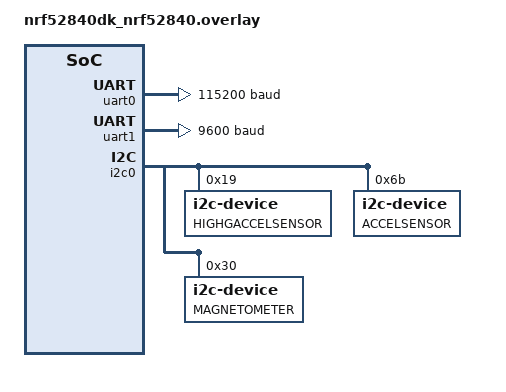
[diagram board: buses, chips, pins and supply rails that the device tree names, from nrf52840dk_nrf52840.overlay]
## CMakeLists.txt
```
cmake_minimum_required(VERSION 3.20.0)
find_package(Zephyr REQUIRED HINTS $ENV{ZEPHYR_BASE})

project(nrf52840)

target_sources(app PRIVATE src/main.c)
target_sources(app PRIVATE src/helpers.c)
target_sources(app PRIVATE src/gps.c)
target_sources(app PRIVATE src/imu.c)
target_sources(app PRIVATE src/highGAccel.c)
```

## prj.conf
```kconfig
CONFIG_GPIO=y
# STEP 2 - Enable the serial driver in asynchronous mode
CONFIG_SERIAL=y
CONFIG_UART_ASYNC_API=y
CONFIG_LOG=y
CONFIG_I2C=y
CONFIG_I2C_NRFX=y
CONFIG_CBPRINTF_FP_SUPPORT=y # Floating point support

CONFIG_BT=y
CONFIG_BT_DEVICE_NAME="HOOF-IMU"
CONFIG_BT_PERIPHERAL=y
```

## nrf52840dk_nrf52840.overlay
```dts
// To get started, press Ctrl+Space to bring up the completion menu and view the available nodes.

// You can also use the buttons in the sidebar to perform actions on nodes.
// Actions currently available include:

// * Enabling / disabling the node
// * Adding the bus to a bus
// * Removing the node
// * Connecting ADC channels

// For more help, browse the DeviceTree documentation at https://docs.zephyrproject.org/latest/guides/dts/index.html
// You can also visit the nRF DeviceTree extension documentation at https://docs.nordicsemi.com/bundle/nrf-connect-vscode/page/guides/ncs_configure_app.html#devicetree-support-in-the-extension
&uart0 {
    current-speed = <115200>;
    data-bits = <8>;
    hw-flow-control;
    stop-bits = "1";
    parity = "none";
};


&uart1 {
    status = "okay";
        data-bits = <8>;
    current-speed = <9600>;
    stop-bits = "1";
    parity = "none";
};

&i2c0{
    highgaccelsensor:highgaccelsensor@19{
        compatible = "i2c-device"; // telling nordic to use raw i2c driver
        status="okay";
        reg = <0x19>;              // address of the accelerameter
        label = "HIGHGACCELSENSOR";   // label
    };    
    accelsensor:accelsensor@6B{
        compatible = "i2c-device"; // telling nordic to use raw i2c driver
        status = "okay";
        reg = <0x6B>;              // address of the accelerameter
        label = "ACCELSENSOR";   // label
    };
    magnetometer:magnetometer@30{
        compatible="i2c-device";
        status="okay";
        reg = <0x30>;
        label="MAGNETOMETER";
    };

};
```

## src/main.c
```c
#include "main.h"

gpgps gps;

static const struct i2c_dt_spec magnetometer = I2C_DT_SPEC_GET(I2C0_NODE);

int initMag()
{
        if (!device_is_ready(magnetometer.bus))
        {
                printk("I2C bus %s is not ready!\n\r", magnetometer.bus->name);
                return -1;
        }
        int ret;
        // Read from WHOAMI
        uint8_t data = 0;
        uint8_t reg = WHOAMI;
        ret = i2c_write_read_dt(&magnetometer, &reg, 1, &data, 1);
        if (ret != 0)
        {
                printk("Failed to write/read I2C device address %x at Reg. %x \r\n", magnetometer.addr, WHOAMI);
                return -1;
        }
        else if (data != 0x30)
        {
                printk("Magnetometer not found\n");
                return -1;
        }
        return 1;
}
int readMag(mag *mag)
{
        // Read X Y and Z values
        int ret;
        uint8_t xValues[3];
        uint8_t xRegs[3] = {MMC5983MA_XOUT0, MMC5983MA_XOUT1, MMC5983MA_XYZOUT2};
        ret = i2c_write_read_dt(&magnetometer, &xRegs[0], 1, &xValues[0], 1);
        if (ret != 0)
        {
                printk("Failed to write/read I2C device address %x at Reg. %x \r\n", magnetometer.addr, WHOAMI);
                return -1;
        }
        ret = i2c_write_read_dt(&magnetometer, &xRegs[1], 1, &xValues[1], 1);
        if (ret != 0)
        {
                printk("Failed to write/read I2C device address %x at Reg. %x \r\n", magnetometer.addr, WHOAMI);
                return -1;
        }
        ret = i2c_write_read_dt(&magnetometer, &xRegs[2], 1, &xValues[2], 1);
        if (ret != 0)
        {
                printk("Failed to write/read I2C device address %x at Reg. %x \r\n", magnetometer.addr, WHOAMI);
                return -1;
        }
        uint8_t yValues[2];
        uint8_t yRegs[2] = {MMC5983MA_YOUT0, MMC5983MA_YOUT1};
        ret = i2c_write_read_dt(&magnetometer, &yRegs[0], 1, &yValues[0], 1);
        if (ret != 0)
        {
                printk("Failed to write/read I2C device address %x at Reg. %x \r\n", magnetometer.addr, WHOAMI);
                return -1;
        }
        ret = i2c_write_read_dt(&magnetometer, &yRegs[1], 1, &yValues[1], 1);
        if (ret != 0)
        {
                printk("Failed to write/read I2C device address %x at Reg. %x \r\n", magnetometer.addr, WHOAMI);
                return -1;
        }
        uint8_t zValues[2];
        uint8_t zRegs[2] = {MMC5983MA_ZOUT0, MMC5983MA_ZOUT1};
        ret = i2c_write_read_dt(&magnetometer, &zRegs[0], 1, &zValues[0], 1);
        if (ret != 0)
        {
                printk("Failed to write/read I2C device address %x at Reg. %x \r\n", magnetometer.addr, WHOAMI);
                return -1;
        }
        ret = i2c_write_read_dt(&magnetometer, &zRegs[1], 1, &zValues[1], 1);
        if (ret != 0)
        {
                printk("Failed to write/read I2C device address %x at Reg. %x \r\n", magnetometer.addr, WHOAMI);
                return -1;
        }
        mag->x = ((xValues[0] << 10) | (xValues[1] << 2) | ((xValues[2] >> 6) & 0x03));
        mag->y = ((yValues[0] << 10) | (yValues[1] << 2) | ((xValues[2] >> 4) & 0x03));
        mag->z = ((zValues[0] << 10) | (zValues[1] << 2) | ((xValues[2] >> 2) & 0x03));
        return 1;
}

int printMag(mag *mag)
{
        printk("X: %ld\t", mag->x);
        printk("Y: %ld\t", mag->y);
        printk("Z: %ld\n", mag->z);
        return 1;
}

float compute_heading(int32_t raw_x, int32_t raw_y)
{
        // Convert raw data to µT
        float Bx = raw_x * SENSITIVITY;
        float By = raw_y * SENSITIVITY;

        // Compute heading using atan2 (radians to degrees)
        float heading = atan2(By, Bx) * (180.0 / PI);

        // Ensure heading is in the range [0, 360)
        if (heading < 0)
        {
                heading += 360.0;
        }

        return heading;
}

int main(void)
{
        printk("\nStarting application!\r\n");
        int ret = init_gps(&gps);
        if (ret == -1)
                return 1;

        ret = initIMU();
        if (ret == -1)
                return 1;
        ret = initHighAccel();
        if (ret == -1)
                return 1;
        ret = initMag();
        if (ret == -1)
                return 1;
        accel highGAccel;
        accel accel;
        gyro gyro;
        mag mag;

        while (1)
        {
                k_msleep(SLEEP_TIME);
                // printk("Working\n");
                readAccel(&accel);
                readGyro(&gyro);
                // printIMU(gyro, accel, getTemp());
                if (readMag(&mag) == -1)
                        return -1;

                if (printMag(&mag) == -1)
                        return -1;
                int32_t heading = compute_heading(mag.x, mag.y);
                printf("Heading: %d degrees\n", heading);
                // readHighAccel(&highGAccel);
                // printk("%d\t", highGAccel.x);
                // printk("%d\t", highGAccel.y);
                // printk("%d\t", highGAccel.z);
                // printGGA(gps.gpgga);
                // printk("\n");
        }

        return 0;
}
```

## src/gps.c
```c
#include "gps.h"

static uint8_t gps_rx_next_buf[GPS_RECEIVE_BUFF_SIZE] = {0};
static uint8_t gps_rx_buf[GPS_RECEIVE_BUFF_SIZE] = {0};

const struct device *gpsUart = DEVICE_DT_GET(DT_NODELABEL(uart1));

void parse_nmea(const char *nmea_sentence, gpgps *gps)
{
    char *saveptr;
    char *line = strtok_r(nmea_sentence, "\n", &saveptr);
    char *id;
    while ((line = strtok_r(NULL, "\n", &saveptr)))
    {
        char *saveIDPointer;
        id = strtok_r(line, ",", &saveIDPointer);
        if (strcmp(id, "$GPGGA") == 0)
        {
            int i = 0;
            while ((id = strtok_r(NULL, ",", &saveIDPointer)))
            {
                switch (i)
                {
                case 0:
                    if (strlen(id) == 10)
                    {
                        strncpy(gps->gpgga.utcTime, id, 10);
                        gps->gpgga.utcTime[10] = '\0';
                    }

                    break;
                case 1:
                    if (strlen(id) == 9)
                    {
                        strncpy(gps->gpgga.latitude, id, 9);
                        gps->gpgga.latitude[9] = '\0';
                    }
                    break;
                case 2:
                    if (strlen(id) == 1)
                    {
                        gps->gpgga.nsIndicator = id[0];
                    }

                    break;
                case 3:
                    if (strlen(id) == 10)
                    {
                        strncpy(gps->gpgga.longitude, id, 10);
                        gps->gpgga.longitude[10] = '\0';
                    }
                    break;
                case 4:
                    if (strlen(id) == 1)
                    {
                        gps->gpgga.ewIndicator = id[0];
                    }
                    break;
                case 5:
                    if (strlen(id) == 1)
                    {
                        gps->gpgga.positionIndicator = id[0];
                    }
                    break;
                case 6:
                    if (strlen(id) == 2)
                    {
                        strncpy(gps->gpgga.numOfSatellites, id, 2);
                        gps->gpgga.numOfSatellites[2] = '\0';
                    }
                    break;
                case 7:
                    if (strlen(id) == 4)
                    {
                        strncpy(gps->gpgga.hdop, id, 4);
                        gps->gpgga.hdop[4] = '\0';
                    }
                    break;
                case 8:
                    if (strlen(id) == 4)
                    {
                        strncpy(gps->gpgga.mslAltitude, id, 4);
                        gps->gpgga.mslAltitude[4] = '\0';
                    }
                    break;
                case 9:
                    if (strlen(id) == 1)
                    {
                        gps->gpgga.altitudeUnits = id[0];
                    }
                    break;
                case 10:
                    if (strlen(id) == 5)
                    {
                        strncpy(gps->gpgga.geoidalSeparation, id, 5);
                        gps->gpgga.geoidalSeparation[5] = '\0';
                    }
                    break;
                case 11:
                    if (strlen(id) == 1)
                    {
                        gps->gpgga.geoidalUnits = id[0];
                    }
                    break;

                default:
                    break;
                }
                i++;
            }
        }
    }
}

static void gps_uart_cb(const struct device *dev, struct uart_event *evt, void *user_data)
{
    static size_t current_bytes = 0;
    switch (evt->type)
    {

    case UART_RX_RDY:
        if (evt->data.rx.len > GPS_RECEIVE_BUFF_SIZE)
        {

            printk("Buffer overflow");
            current_bytes = 0; // Reset buffer
            break;
        }

        parse_nmea(evt->data.rx.buf + evt->data.rx.offset, user_data);
        break;

    case UART_RX_BUF_REQUEST:
        uart_rx_buf_rsp(dev, gps_rx_next_buf, sizeof(gps_rx_next_buf) - 1);
        break;
    case UART_RX_DISABLED:
        uart_rx_enable(dev, gps_rx_buf, sizeof gps_rx_buf, RECEIVE_TIMEOUT);
        break;

    default:
        break;
    }
}

int init_gps(gpgps *gps)
{
    if (!device_is_ready(gpsUart))
    {
        printk("GPS is not ready!\r\n");
        return -1;
    }

    int ret = uart_callback_set(gpsUart, gps_uart_cb, gps);
    if (ret)
    {
        printk("gps UART not set up right \r\n");
        return -1;
    }

    ret = uart_rx_enable(gpsUart, gps_rx_buf, sizeof gps_rx_buf, RECEIVE_TIMEOUT);
    if (ret)
    {
        printk("Could not enable gps rx\r\n");
        return -1;
    }
    return 1;
}
```

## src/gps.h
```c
#ifndef GPS_H
#define GPS_H

// #include "main.h"
#include <zephyr/device.h>
#include <zephyr/drivers/uart.h>
#include <stdlib.h>
#include <zephyr/sys/printk.h>
#include <stdint.h>
#include <stdbool.h>
#include <string.h>

#define RECEIVE_TIMEOUT 100
#define GPS_RECEIVE_BUFF_SIZE 1028

typedef struct gga
{
    char utcTime[11];        // hhmmss.sss
    char latitude[10];       // ddmm.mmmm
    char nsIndicator;        // N/S
    char longitude[11];      // dddmm.mmmm
    char ewIndicator;        // E/W
    char positionIndicator;  // 0: no fix, 1:GPS fix, 2: Differential GPS fix
    char numOfSatellites[3]; // 0-14
    char hdop[5];
    char mslAltitude[5];
    char altitudeUnits;
    char geoidalSeparation[6];
    char geoidalUnits;
} gga;

typedef struct rmc
{
    char *utcTime;
    char status;
    char *latitude;
    char nsIndicator;
    char *longitude;
    char ewIndicator;
    char *speedOverGround;
    char *courseOverGround;
    char *date;
} rmc;

typedef struct gpgps
{
    gga gpgga;
    rmc gprmc;
} gpgps;

int init_gps(gpgps *gps);

#endif
```

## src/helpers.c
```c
#include "helpers.h"
#include "math.h"
void printGGA(gga gpsData)
{
    // printk("UTC Time: %s\n", gpsData.utcTime);
    // printk("Latitude: %s\n", gpsData.latitude);
    // printk("%s\t", gpsData.latitude);

    // printk("N/S Indicator: %c\n", gpsData.nsIndicator);
    // printk("Longitude: %s\n", gpsData.longitude);
    // printk("%s\t", gpsData.longitude);

    // printk("E/W Indicator: %c\n", gpsData.ewIndicator);
    // printk("Position Indicator: %c\n", gpsData.positionIndicator);
    // printk("Number of Satellites: %s\n", gpsData.numOfSatellites);
    // printk("HDOP: %s\n", gpsData.hdop);
    // printk("MSL Altitude: %s %c\n", gpsData.mslAltitude, gpsData.altitudeUnits);
    // printk("Geoidal Separation: %s %c\n", gpsData.geoidalSeparation, gpsData.geoidalUnits);
}
void printIMU(gyro gyro, accel accel, int16_t temp)
{
    // printk("Temperature in Fahrenheit : %d F \n", temp);
    // printk("Gyro X is : %d  \n", gyro.x);
    // printk("Gyro Y is : %d  \n", gyro.y);
    // printk("Gyro Z is : %d  \n", gyro.z);
    // printk("\nAccel X is : %d  \t", accel.x);
    // printk("Accel Y is : %d  \t", accel.y);
    // printk("Accel Z is : %d  \t", accel.z);

    // printk("%d\t", temp);
    // printk("%d\t", gyro.x);
    // printk("%d\t", gyro.y);
    // printk("%d\t", gyro.z);
    // printk("%d\t", accel.x);
    // printk("%d\t", accel.y);
    // printk("%d\t", accel.z);
    printAccelDegrees(accel);
}
#define PI 3.14159265358979323846
void printAccelDegrees(accel accel)
{
    // Convert mg to g
    float a_x = accel.x / 1.0;
    float a_y = accel.y / 1.0;
    float a_z = accel.z / 1.0;

    // Calculate pitch (tilt with respect to the X-axis)
    float pitch_radians = atan2((-a_x), sqrt((a_y * a_y) + (a_z * a_z)));

    // Convert radians to degrees
    float pitch_degrees = pitch_radians * (180.0 / PI);
    float roll = atan2(a_y, a_z) * 57.3;
    printk("\nPitch is : %.2f  \t", pitch_degrees * 2);
    printk("Roll is : %.2f ", roll * 2);
}
```

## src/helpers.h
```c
#ifndef HELPERS_H
#define HELPERS_H

#include "gps.h"
#include <zephyr/sys/printk.h>
#include "imu.h"
// #include "main.h"

void printGGA(gga gpsData);
void printIMU(gyro gyro, accel accel, int16_t temp);

#endif
```

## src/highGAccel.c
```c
#include "highGAccel.h"

static const struct i2c_dt_spec highAccelI2C = I2C_DT_SPEC_GET(I2C1_NODE);

int initHighAccel()
{
    int ret;
    if (!device_is_ready(highAccelI2C.bus))
    {
        printk("High G i2c bus %s is not ready!\n\r", highAccelI2C.bus->name);
        return -1;
    }
    // Read from WHOAMI
    uint8_t data = 0;
    uint8_t reg = HighGWHO_AM_I;
    ret = i2c_write_read_dt(&highAccelI2C, &reg, 1, &data, 1);
    if (ret != 0)
    {
        printk("Failed to write/read I2C device address %x at Reg. %x \r\n", highAccelI2C.addr, HighGWHO_AM_I);
        return -1;
    }

    // Setup accel

    // Configure CTRL_REG1: Data rate 50 Hz, normal power mode, enable all axes
    uint8_t config[2] = {HighGCTRL_REG1, 0x27};
    ret = i2c_write_dt(&highAccelI2C, config, sizeof(config));
    if (ret != 0)
    {
        printk("Failed to write to I2C device address %x at Reg. %x \n", highAccelI2C.addr, config[0]);
        return -1;
    }
    // Setup accel
    // Configure CTRL_REG4: medium scale 200g, high-resolution mode
    uint8_t configTwo[2] = {HighGCTRL_REG4, 0x10};
    ret = i2c_write_dt(&highAccelI2C, configTwo, sizeof(configTwo));
    if (ret != 0)
    {
        printk("Failed to write to I2C device address %x at Reg. %x \n", highAccelI2C.addr, configTwo[0]);
        return -1;
    }
    return 1;
}

int readHighAccel(accel *accel)
{
    int ret;
    int8_t accelXLow, accelXHigh;
    uint8_t sensor_regs[2] = {HighGOUT_X_L, HighGOUT_X_H};
    ret = i2c_write_read_dt(&highAccelI2C, &sensor_regs[0], 1, &accelXLow, 1);
    if (ret != 0)
    {
        printk("Failed to write/read I2C device address %x at Reg. %x \r\n", highAccelI2C.addr, WHOAMI);
        return -1;
    }
    ret = i2c_write_read_dt(&highAccelI2C, &sensor_regs[1], 1, &accelXHigh, 1);
    if (ret != 0)
    {
        printk("Failed to write/read I2C device address %x at Reg. %x \r\n", highAccelI2C.addr, WHOAMI);
        return -1;
    }
    accel->x = ((int16_t)(accelXHigh << 8 | accelXLow)) / HIGHACCELSENSITIVITY;

    int8_t accelYLow, accelYHigh;
    uint8_t sensor_regsY[2] = {HighGOUT_Y_L, HighGOUT_Y_H};
    ret = i2c_write_read_dt(&highAccelI2C, &sensor_regsY[0], 1, &accelYLow, 1);
    if (ret != 0)
    {
        printk("Failed to write/read I2C device address %x at Reg. %x \r\n", highAccelI2C.addr, WHOAMI);
        return -1;
    }
    ret = i2c_write_read_dt(&highAccelI2C, &sensor_regsY[1], 1, &accelYHigh, 1);
    if (ret != 0)
    {
        printk("Failed to write/read I2C device address %x at Reg. %x \r\n", highAccelI2C.addr, WHOAMI);
        return -1;
    }
    accel->y = ((int16_t)(accelYHigh << 8 | accelYLow)) / HIGHACCELSENSITIVITY;

    int8_t accelZLow, accelZHigh;
    uint8_t sensor_regsz[2] = {HighGOUT_Z_L, HighGOUT_Z_H};
    ret = i2c_write_read_dt(&highAccelI2C, &sensor_regsz[0], 1, &accelZLow, 1);
    if (ret != 0)
    {
        printk("Failed to write/read I2C device address %x at Reg. %x \r\n", highAccelI2C.addr, WHOAMI);
        return -1;
    }
    ret = i2c_write_read_dt(&highAccelI2C, &sensor_regsz[1], 1, &accelZHigh, 1);
    if (ret != 0)
    {
        printk("Failed to write/read I2C device address %x at Reg. %x \r\n", highAccelI2C.addr, WHOAMI);
        return -1;
    }
    accel->z = ((int16_t)(accelZHigh << 8 | accelZLow)) / HIGHACCELSENSITIVITY;

    // accel->x -= (accel->x % 50);
    // accel->y -= (accel->y % 50);
    // accel->z -= (accel->z % 50);
    return 1;
}
```

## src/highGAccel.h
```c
#ifndef HIGHGACCEL_H
#define HIGHGACCEL_H
#include <zephyr/device.h>
#include <zephyr/drivers/i2c.h>
#include "imu.h"
#define I2C1_NODE DT_NODELABEL(highgaccelsensor)

// High g accel
#define HighGWHO_AM_I 0x0F
#define HighGCTRL_REG1 0x20
#define HighGCTRL_REG4 0x23
#define HighGOUT_X_L 0x28
#define HighGOUT_X_H 0x29
#define HighGOUT_Y_L 0x2A
#define HighGOUT_Y_H 0x2B
#define HighGOUT_Z_L 0x2C
#define HighGOUT_Z_H 0x2D
#define HIGHACCELSENSITIVITY 98

int initHighAccel();
int readHighAccel(accel *accel);

#endif
```

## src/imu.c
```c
#include "imu.h"

static const struct i2c_dt_spec imu = I2C_DT_SPEC_GET(I2C0_NODE);

int initIMU()
{
    if (!device_is_ready(imu.bus))
    {
        printk("I2C bus %s is not ready!\n\r", imu.bus->name);
        return -1;
    }
    int ret;
    // Read from WHOAMI
    uint8_t data = 0;
    uint8_t reg = WHOAMI;
    ret = i2c_write_read_dt(&imu, &reg, 1, &data, 1);
    if (ret != 0)
    {
        printk("Failed to write/read I2C device address %x at Reg. %x \r\n", imu.addr, WHOAMI);
        return -1;
    }
    else if (data != 0x6B)
    {
        printk("IMU not found\n");
        return -1;
    }

    // Setup accel
    uint8_t config[2] = {CTRL1XL, 0x40}; // 0100 0000
    ret = i2c_write_dt(&imu, config, sizeof(config));
    if (ret != 0)
    {
        printk("Failed to write to I2C device address %x at Reg. %x \n", imu.addr, config[0]);
        return -1;
    }

    // Setup gyro
    //  200dps
    uint8_t gconfig[2] = {CTRL2G, 0x60}; // 0110 0000
    ret = i2c_write_dt(&imu, gconfig, sizeof(gconfig));
    if (ret != 0)
    {
        printk("Failed to write to I2C device address %x at Reg. %x \n", imu.addr, gconfig[0]);
        return -1;
    }
    uint8_t testconfig[2] = {CTRL5C, 0x40};
    ret = i2c_write_dt(&imu, testconfig, sizeof(testconfig));
    if (ret != 0)
    {
        printk("Failed to write to I2C device address %x at Reg. %x \n", imu.addr, testconfig[0]);
        return -1;
    }
    return 1;
}

int readAccel(accel *accel)
{
    int ret;
    u_int16_t accelXLow, accelXHigh;
    uint8_t sensor_regs[2] = {OUTXLA, OUTXHA};
    ret = i2c_write_read_dt(&imu, &sensor_regs[0], 1, &accelXLow, 1);
    if (ret != 0)
    {
        printk("Failed to write/read I2C device address %x at Reg. %x \r\n", imu.addr, WHOAMI);
        return -1;
    }
    ret = i2c_write_read_dt(&imu, &sensor_regs[1], 1, &accelXHigh, 1);
    if (ret != 0)
    {
        printk("Failed to write/read I2C device address %x at Reg. %x \r\n", imu.addr, WHOAMI);
        return -1;
    }
    accel->x = (((int16_t)(accelXHigh << 8 | accelXLow)) * 0.061);

    u_int16_t accelYLow, accelYHigh;
    uint8_t sensor_regsY[2] = {OUTYLA, OUTYHA};
    ret = i2c_write_read_dt(&imu, &sensor_regsY[0], 1, &accelYLow, 1);
    if (ret != 0)
    {
        printk("Failed to write/read I2C device address %x at Reg. %x \r\n", imu.addr, WHOAMI);
        return -1;
    }
    ret = i2c_write_read_dt(&imu, &sensor_regsY[1], 1, &accelYHigh, 1);
    if (ret != 0)
    {
        printk("Failed to write/read I2C device address %x at Reg. %x \r\n", imu.addr, WHOAMI);
        return -1;
    }
    accel->y = (((int16_t)(accelYHigh << 8 | accelYLow)) * 0.061);

    u_int16_t accelZLow, accelZHigh;
    uint8_t sensor_regsz[2] = {OUTZLA, OUTZHA};
    ret = i2c_write_read_dt(&imu, &sensor_regsz[0], 1, &accelZLow, 1);
    if (ret != 0)
    {
        printk("Failed to write/read I2C device address %x at Reg. %x \r\n", imu.addr, WHOAMI);
        return -1;
    }
    ret = i2c_write_read_dt(&imu, &sensor_regsz[1], 1, &accelZHigh, 1);
    if (ret != 0)
    {
        printk("Failed to write/read I2C device address %x at Reg. %x \r\n", imu.addr, WHOAMI);
        return -1;
    }
    accel->z = (((int16_t)(accelZHigh << 8 | accelZLow)) * 0.061) - 350;

    accel->x -= (accel->x % 20);
    accel->y -= (accel->y % 20);
    accel->z -= (accel->z % 20);
    return 1;
}

int readGyro(gyro *gyro)
{
    int ret;
    u_int16_t gyroXLow, gyroXHigh;
    uint8_t sensor_regs[2] = {OUTXLG, OUTXHG};
    ret = i2c_write_read_dt(&imu, &sensor_regs[0], 1, &gyroXLow, 1);
    if (ret != 0)
    {
        printk("Failed to write/read I2C device address %x at Reg. %x \r\n", imu.addr, WHOAMI);
        return -1;
    }
    ret = i2c_write_read_dt(&imu, &sensor_regs[1], 1, &gyroXHigh, 1);
    if (ret != 0)
    {
        printk("Failed to write/read I2C device address %x at Reg. %x \r\n", imu.addr, WHOAMI);
        return -1;
    }
    gyro->x = ((int16_t)(gyroXHigh << 8 | gyroXLow)) / GYROSENSITIVITY;

    u_int16_t gyroYLow, gyroYHigh;
    uint8_t sensor_regsY[2] = {OUTYLG, OUTYHG};
    ret = i2c_write_read_dt(&imu, &sensor_regsY[0], 1, &gyroYLow, 1);
    if (ret != 0)
    {
        printk("Failed to write/read I2C device address %x at Reg. %x \r\n", imu.addr, WHOAMI);
        return -1;
    }
    ret = i2c_write_read_dt(&imu, &sensor_regsY[1], 1, &gyroYHigh, 1);
    if (ret != 0)
    {
        printk("Failed to write/read I2C device address %x at Reg. %x \r\n", imu.addr, WHOAMI);
        return -1;
    }
    gyro->y = ((int16_t)(gyroYHigh << 8 | gyroYLow)) / GYROSENSITIVITY;

    u_int16_t gyroZLow, gyroZHigh;
    uint8_t sensor_regsz[2] = {OUTZLG, OUTZHG};
    ret = i2c_write_read_dt(&imu, &sensor_regsz[0], 1, &gyroZLow, 1);
    if (ret != 0)
    {
        printk("Failed to write/read I2C device address %x at Reg. %x \r\n", imu.addr, WHOAMI);
        return -1;
    }
    ret = i2c_write_read_dt(&imu, &sensor_regsz[1], 1, &gyroZHigh, 1);
    if (ret != 0)
    {
        printk("Failed to write/read I2C device address %x at Reg. %x \r\n", imu.addr, WHOAMI);
        return -1;
    }
    gyro->z = ((int16_t)(gyroZHigh << 8 | gyroZLow)) / GYROSENSITIVITY;

    gyro->x -= (gyro->x % 10);
    gyro->y -= (gyro->y % 10);
    gyro->z -= (gyro->z % 10);
    return 1;
}

int16_t getTemp()
{
    int16_t temperature;
    uint8_t tempLow, tempHigh;
    uint8_t sensor_regs[2] = {OUTTEMPL, OUTTEMPH};
    int ret;
    ret = i2c_write_read_dt(&imu, &sensor_regs[0], 1, &tempLow, 1);
    if (ret != 0)
    {
        printk("Failed to write/read I2C device address %x at Reg. %x \r\n", imu.addr, sensor_regs[0]);
        return -1;
    }
    ret = i2c_write_read_dt(&imu, &sensor_regs[1], 1, &tempHigh, 1);
    if (ret != 0)
    {
        printk("Failed to write/read I2C device address %x at Reg. %x \r\n", imu.addr, sensor_regs[1]);
        return -1;
    }
    temperature = 25 + ((int16_t)(tempHigh << 8 | tempLow)) / 256;
    // if(temperature>2047)temperature-=4096;
    temperature = (temperature * 1.8) + 32;
    return temperature;
}
```

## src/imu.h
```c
#ifndef IMU_H
#define IMU_H
#include <unistd.h>
#include <zephyr/drivers/i2c.h>

// imu sensor
#define I2C0_NODE DT_NODELABEL(accelsensor)
#define WHOAMI 0X0F
// control reg
#define CTRL1XL 0x10
#define CTRL2G 0x11
#define CTRL5C 0x14
#define STATUSREG 0x1E
// gyro
#define OUTXLG 0x22
#define OUTXHG 0x23
#define OUTYLG 0x24
#define OUTYHG 0x25
#define OUTZLG 0x26
#define OUTZHG 0x27
// accel
#define OUTXLA 0x28
#define OUTXHA 0x29
#define OUTYLA 0x2A
#define OUTYHA 0x2B
#define OUTZLA 0x2C
#define OUTZHA 0x2D
// temp
#define OUTTEMPL 0x20
#define OUTTEMPH 0x21
// sensitivity
#define GYROSENSITIVITY 16.4
//
#define ACCELSENSITIVITY 16

typedef struct accel
{
    int16_t x;
    int16_t y;
    int16_t z;
} accel;
typedef struct gyro
{
    int16_t x;
    int16_t y;
    int16_t z;
} gyro;

// Send contr regs and makes sure it can read imu
int initIMU();
int readAccel(accel *accel);
int readGyro(gyro *gyro);
int16_t getTemp();
#endif
```

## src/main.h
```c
#ifndef MAIN_H
#define MAIN_H

#include <zephyr/kernel.h>
#include <zephyr/device.h>
#include <zephyr/devicetree.h>
#include <zephyr/drivers/gpio.h>
#include <zephyr/sys/printk.h>
#include <unistd.h>
#include <stdlib.h>
#include <stdint.h>
#include <stdbool.h>
#include <math.h>
#include "helpers.h"
#include "gps.h"
#include "imu.h"
#include "highGAccel.h"

#define SLEEP_TIME 200
#define I2C0_NODE DT_NODELABEL(magnetometer)
#define WHOAMI 0x2f
#define MMC5983MA_XOUT0 0x00   // X-axis MSB
#define MMC5983MA_YOUT0 0x02   // Y-axis MSB
#define MMC5983MA_ZOUT0 0x04   // Z-axis MSB
#define MMC5983MA_XOUT1 0x01   // X-axis LSB
#define MMC5983MA_YOUT1 0x03   // Y-axis LSB
#define MMC5983MA_ZOUT1 0x05   // Z-axis LSB
#define MMC5983MA_XYZOUT2 0x06 // Control register 1
#define SENSITIVITY 0.25       // µT/LSB
#define PI 3.14159265358979323846
typedef struct mag
{
    int32_t x;
    int32_t y;
    int32_t z;
} mag;

#endif
```
